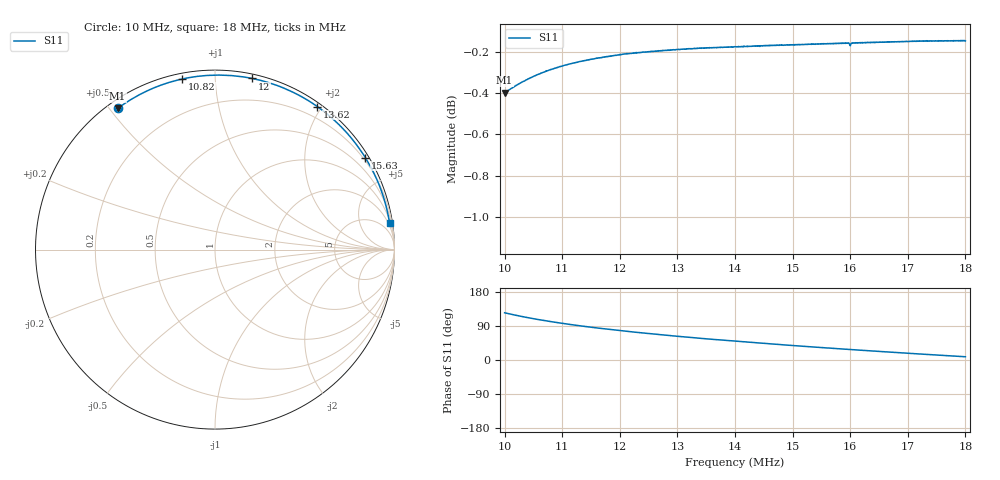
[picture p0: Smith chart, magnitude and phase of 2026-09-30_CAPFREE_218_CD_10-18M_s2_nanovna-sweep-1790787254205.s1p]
! NanoVNA Web complex sweep
! Processing: unaveraged complex samples; linear segment spacing; no smoothing
# Hz S RI R 50
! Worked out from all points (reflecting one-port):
!   1010 points, 10 MHz to 18 MHz, reference 50 ohm
!   lowest |S11| = -0.4 dB at 10 MHz (marker M1), VSWR 43.81, Z = 1.46 + j26.2 ohm
!   phase of S11 starts at 125 deg and turns -116 deg over the sweep
!   S11 on the Smith chart (normalised r, x): 10 MHz: 0.03, +0.52; 10.82 MHz: 0.03, +0.82; 12 MHz: 0.03, +1.24; 13.62 MHz: 0.05, +1.94; 15.63 MHz: 0.12, +3.54; 18 MHz: 1, +13
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1e7  -0.5427 0.7863
1.003964e7  -0.5238 0.7998
1.021408e7  -0.4419 0.8516
1.038852e7  -0.363 0.8913
1.059468e7  -0.2741 0.9255
1.081669e7  -0.1841 0.9502
1.100698e7  -0.1113 0.9633
1.122107e7  -0.0343 0.9708
1.146686e7  0.0483 0.9718
1.172852e7  0.1299 0.9658
1.199811e7  0.2079 0.9536
1.200604e7  0.21 0.9529
1.224391e7  0.2738 0.9374
1.249764e7  0.3372 0.9175
1.274343e7  0.3945 0.8949
1.300509e7  0.4515 0.8684
1.330639e7  0.5122 0.8346
1.361562e7  0.5693 0.7972
1.400414e7  0.6344 0.7473
1.449574e7  0.707 0.6799
1.50032e7  0.771 0.6068
1.532829e7  0.8071 0.5585
1.562959e7  0.8372 0.513
1.600225e7  0.8687 0.4551
1.648592e7  0.9056 0.3813
1.700131e7  0.9357 0.3011
1.74929e7  0.9574 0.2246
1.800036e7  0.9724 0.1465
